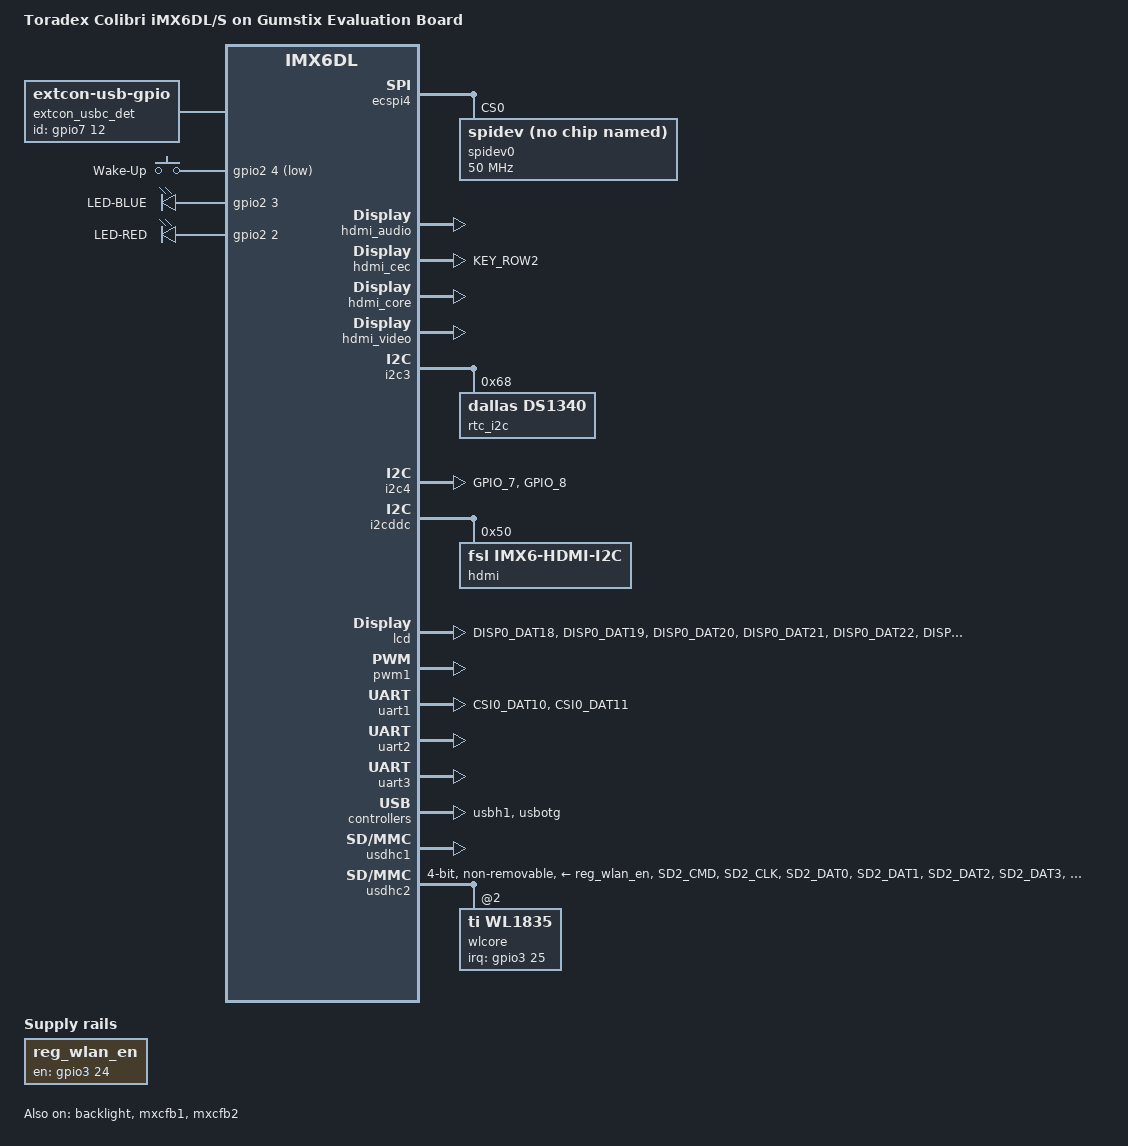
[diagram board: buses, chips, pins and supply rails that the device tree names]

/*

 * Copyright 2016 Gumstix, Inc.

 *

 * Heavily based on imx6dl-colibri-eval-v3.dts.

 *

 * The code contained herein is licensed under the GNU General Public

 * License. You may obtain a copy of the GNU General Public License

 * Version 2 or later at the following locations:

 *

 * http://www.opensource.org/licenses/gpl-license.html

 * http://www.gnu.org/copyleft/gpl.html

 */



/dts-v1/;



#include <dt-bindings/input/input.h>

#include <dt-bindings/interrupt-controller/irq.h>

#include "imx6dl.dtsi"

#include "imx6qdl-colibri.dtsi"



/ {

	model = "Toradex Colibri iMX6DL/S on Gumstix Evaluation Board";

	compatible = "gumstix,colibri_imx6dl-eval", "toradex,colibri_imx6dl", "fsl,imx6dl";



	aliases {

		i2c0 = &i2cddc;

		i2c1 = &i2c2;

		i2c2 = &i2c3;

		i2c3 = &i2c4;

	};



	aliases {

		rtc0 = &rtc_i2c;

		rtc1 = "/soc/aips-bus@02000000/snvs@020cc000/snvs-rtc-lp@34";

	};



	aliases {

		/* the following, together with kernel patches, forces a fixed assignment

		   between device id and usdhc controller */

		/* i.e. the eMMC on usdhc3 will be /dev/mmcblk0 */

		mmc0 = &usdhc3; /* eMMC */

		mmc1 = &usdhc1; /* MMC 4bit slot */

		mmc2 = &usdhc1; /* SDIO 4bit for Wilink */

	};



	extcon_usbc_det: usbc_det {

		compatible = "linux,extcon-usb-gpio";

		debounce = <25>;

		id-gpio = <&gpio7 12 GPIO_ACTIVE_HIGH>;

		pinctrl-names = "default";

		pinctrl-0 = <&pinctrl_usbc_det_1>;

	};



	gpio-keys {

		compatible = "gpio-keys";

		pinctrl-names = "default";

		pinctrl-0 = <&pinctrl_gpio_keys>;



		wakeup {

			label = "Wake-Up";

			gpios = <&gpio2 4 GPIO_ACTIVE_LOW>;

			linux,code = <KEY_WAKEUP>;

			debounce-interval = <10>;

			gpio-key,wakeup;

		};

	};



	leds {

		compatible = "gpio-leds";



		pinctrl-names = "default";

		pinctrl-0 = <&pinctrl_leds>;



		led-blue {

			label = "LED-BLUE";

			gpios = <&gpio2 3 GPIO_ACTIVE_HIGH>;

		};



		led-red {

			label = "LED-RED";

			gpios = <&gpio2 2 GPIO_ACTIVE_HIGH>;

		};

	};



	regulators {

		reg_usb_host_vbus: usb_host_vbus {

			status = "okay";

			enable-active-high;

		};



		reg_wlan_en: wlan_en {

			compatible = "regulator-fixed";

			regulator-name = "wlan-en-regulator";

			regulator-min-microvolts = <1800000>;

			regulator-max-microvolts = <1800000>;



			/* WLAN enable: GPIO3_24 */

			gpio = <&gpio3 24 GPIO_ACTIVE_HIGH>;

			startup-delay-us = <70000>;

			enable-active-high;

		};

	};





	kim {

		compatible = "kim";

		nshutdown_gpio = <87>;	/* BT enable: GPIO3_23 */

		dev_name = "/dev/ttymxc1";

		flow_cntrl = <1>;

		baud_rate = <3000000>;

	};



	btwilink {

		compatible = "btwilink";

	};

};



&backlight {

	// Backlight is configured on PWM1, not PWM3

	pwms = <&pwm1 0 100000>;

	brightness-levels = <0 4 8 16 32 64 128 255>;

	default-brightness-level = <7>;

	status = "okay";

};



/* Colibri SPI */

&ecspi4 {

	status = "okay";



	spidev0: spidev@1 {

		compatible = "spidev";

		reg = <0>;

		spi-max-frequency = <50000000>;



		// SPI (J8) Header also exposes a pin as an interrupt

		pinctrl-names = "default";

		pinctrl-0 = <&pinctrl_spi_int>;

		// FIXME: bind interrupt (driver specific?)

		//interrupt-parent = <&gpio3>;

		//interrupts = <27 IRQ_TYPE_LEVEL_LOW>;

	};

};



&hdmi_audio {

	status = "okay";

};



&hdmi_cec {

	status = "okay";

	pinctrl-names = "default";

	pinctrl-0 = <&pinctrl_hdmi_cec>;

};



&hdmi_core {

	status = "okay";

};



&hdmi_video {

	status = "okay";

};



/*

 * I2C: I2C3_SDA/SCL on SODIMM 194/196 (e.g. RTC on carrier

 * board)

 */

&i2c3 {

	status = "okay";

	/* DS1340 real time clock on carrier board */

	rtc_i2c: rtc@68 {

		compatible = "dallas,ds1340";

		reg = <0x68>;

	};

	/* Also broken out on J11 header */

};



&i2c4 {

	/* Broken out on J5 header */

	status = "okay";

	pinctrl-name = "default";

	pinctrl-0 = <&pinctrl_i2c_4>;

};



/*

 * DDC_I2C: I2C2_SDA/SCL on extension connector pin 15/16

 */

&i2cddc {

	status = "okay";



	hdmi: edid@50 {

		compatible = "fsl,imx6-hdmi-i2c";

		reg = <0x50>;

	};

};



&iomuxc {

	/*

	 * Mux all pins which are unused to be GPIOs

	 * so they are ready for export to user space

	 */

	pinctrl-names = "default";

	pinctrl-0 = <&pinctrl_header_j5 &pinctrl_pwm_d_cif_d6 &pinctrl_pwm_a_cif_d7

	             &pinctrl_usbh_oc_1 &pinctrl_misc>;



	gumstix {

		pinctrl_hdmi_cec: hdmicecgrp {

			fsl,pins = <

				MX6QDL_PAD_KEY_ROW2__HDMI_TX_CEC_LINE 0x1f8b0

			>;

		};

		pinctrl_header_j5: header_j5 {

			fsl,pins = <

				MX6QDL_PAD_GPIO_1__GPIO1_IO01		PAD_CTRL_HYS_PD	/* also need pinctrl_pwm_d_cif_d6 */

				MX6QDL_PAD_SD4_DAT1__GPIO2_IO09		PAD_CTRL_HYS_PD	/* also need pinctrl_pwm_a_cif_d7 */ 

				MX6QDL_PAD_SD4_DAT2__GPIO2_IO10		PAD_CTRL_HYS_PD

				MX6QDL_PAD_NANDF_D7__GPIO2_IO07		PAD_CTRL_HYS_PD

				MX6QDL_PAD_SD4_DAT0__GPIO2_IO08		PAD_CTRL_HYS_PD

				MX6QDL_PAD_SD4_DAT3__GPIO2_IO11		PAD_CTRL_HYS_PD

				MX6QDL_PAD_EIM_D17__GPIO3_IO17		PAD_CTRL_HYS_PD

				MX6QDL_PAD_EIM_D18__GPIO3_IO18		PAD_CTRL_HYS_PD

				MX6QDL_PAD_EIM_A19__GPIO2_IO19		PAD_CTRL_HYS_PD

				MX6QDL_PAD_EIM_A18__GPIO2_IO20		PAD_CTRL_HYS_PD

			>;

		};

		pinctrl_i2c_4: i2c_4 {

			fsl,pins = <

				MX6QDL_PAD_GPIO_7__I2C4_SCL	0x4001b8b1

				MX6QDL_PAD_GPIO_8__I2C4_SDA	0x4001b8b1

			>;

		};

		pinctrl_lcd_enable: lcd_enable {

			fsl,pins = <

				MX6QDL_PAD_EIM_D26__GPIO3_IO26	PAD_CTRL_HYS_PU

			>;

		};

		pinctrl_lcd_upper: lcd_upper {

			fsl,pins = <

				MX6QDL_PAD_DISP0_DAT18__IPU1_DISP0_DATA18  0xa1

				MX6QDL_PAD_DISP0_DAT19__IPU1_DISP0_DATA19  0xa1

				MX6QDL_PAD_DISP0_DAT20__IPU1_DISP0_DATA20  0xa1

				MX6QDL_PAD_DISP0_DAT21__IPU1_DISP0_DATA21  0xa1

				MX6QDL_PAD_DISP0_DAT22__IPU1_DISP0_DATA22  0xa1

				MX6QDL_PAD_DISP0_DAT23__IPU1_DISP0_DATA23  0xa1

			>;

		};

		pinctrl_leds: led_pins {

			fsl,pins = <

				MX6QDL_PAD_NANDF_D2__GPIO2_IO02	PAD_CTRL_HYS_PU

				MX6QDL_PAD_NANDF_D3__GPIO2_IO03	PAD_CTRL_HYS_PU

			>;

		};

		pinctrl_misc: misc_pins {

			fsl,pins = <

				MX6QDL_PAD_EIM_D29__GPIO3_IO29   PAD_CTRL_HYS_PD

			>;

		};

		pinctrl_spi_int: spi_int {

			fsl,pins = <

				MX6QDL_PAD_EIM_D27__GPIO3_IO27	PAD_CTRL_HYS_PU

			>;

		};

		pinctrl_usdhc2: usdhc2grp {

			fsl,pins = <

				MX6QDL_PAD_SD2_CMD__SD2_CMD	0x17069

				MX6QDL_PAD_SD2_CLK__SD2_CLK	0x10069

				MX6QDL_PAD_SD2_DAT0__SD2_DATA0	0x17069

				MX6QDL_PAD_SD2_DAT1__SD2_DATA1	0x17069

				MX6QDL_PAD_SD2_DAT2__SD2_DATA2	0x17069

				MX6QDL_PAD_SD2_DAT3__SD2_DATA3	0x17069

			>;

		};

		pinctrl_wilink_ctrl: wilink_ctrl {

			fsl,pins = <

				MX6QDL_PAD_EIM_D23__GPIO3_IO23	0x13059	/* BT enable */

				MX6QDL_PAD_EIM_D24__GPIO3_IO24	0x13059	/* WLAN enable */

				MX6QDL_PAD_EIM_D25__GPIO3_IO25	0x13059	/* WLAN IRQ */

			>;

		};

	};



	imx6dl-colibri {

		/* Overwrite to switch default wakeup pin */

		pinctrl_gpio_keys: gpio_keys {

			fsl,pins = <

				MX6QDL_PAD_NANDF_D4__GPIO2_IO04		PAD_CTRL_HYS_PU	/* S2 -- Power Button */

			>;

		};

	};



	uart1 {

		/* Overwrite---we don't use the CTS/RTS signals */

		pinctrl_uart1_dte: uart1-dtegrp { /* DTE mode */

			fsl,pins = <

				MX6QDL_PAD_CSI0_DAT10__UART1_RX_DATA 0x1b0b1

				MX6QDL_PAD_CSI0_DAT11__UART1_TX_DATA 0x1b0b1

			>;

		};

	};

};



&lcd {

	status = "okay";

	default_ifmt = "RGB24";

	// supplement existing pinctrl with upper 6-bits

	pinctrl-0 = <&pinctrl_ipu1_lcd &pinctrl_lcd_upper &pinctrl_lcd_enable>;

};



&mxcfb1 {

	status = "okay";

	interface_pix_fmt = "RGB24";

	mode_str ="480x272M@60";

	default_bpp = <24>;

};



&mxcfb2 {

	status = "okay";

};



&pwm1 {

	status = "okay";

};



&sound_hdmi {

	status = "okay";

};



&uart1 {

	/* System console */

	status = "okay";

        pinctrl-0 = <&pinctrl_uart1_dte>;



	// FIXME: disable fsl,uart-has-rtscts;

	// -->can't readily override without redefining (whole aips-bus!)

};



&uart2 {

	status = "okay";

};



&uart3 {

	/* broken out on J5 header */

	status = "okay";

};



&usbh1 {

	status = "okay";

};



&usbotg {

	status = "okay";

	extcon = <&extcon_usbc_det>;

};



&usdhc1 {

	status = "okay";

};



&usdhc2 {

	label = "SDIO";

	pinctrl-names = "default";

	pinctrl-0 = <&pinctrl_usdhc2 &pinctrl_wilink_ctrl>;

	vmmc-supply = <&reg_wlan_en>;

	keep-power-in-suspend;

	non-removable;

	cap-power-off-card;

	bus-width = <4>;

	no-1-8-v; // We're level-shifting so...

	status = "okay";



	#address-cells = <1>;

	#size-cells = <0>;

	wlcore: wlcore@2 {

		compatible = "ti,wl1835";

		reg = <2>;

		interrupt-parent = <&gpio3>;

		interrupts = <25 IRQ_TYPE_EDGE_RISING>;

	};

};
